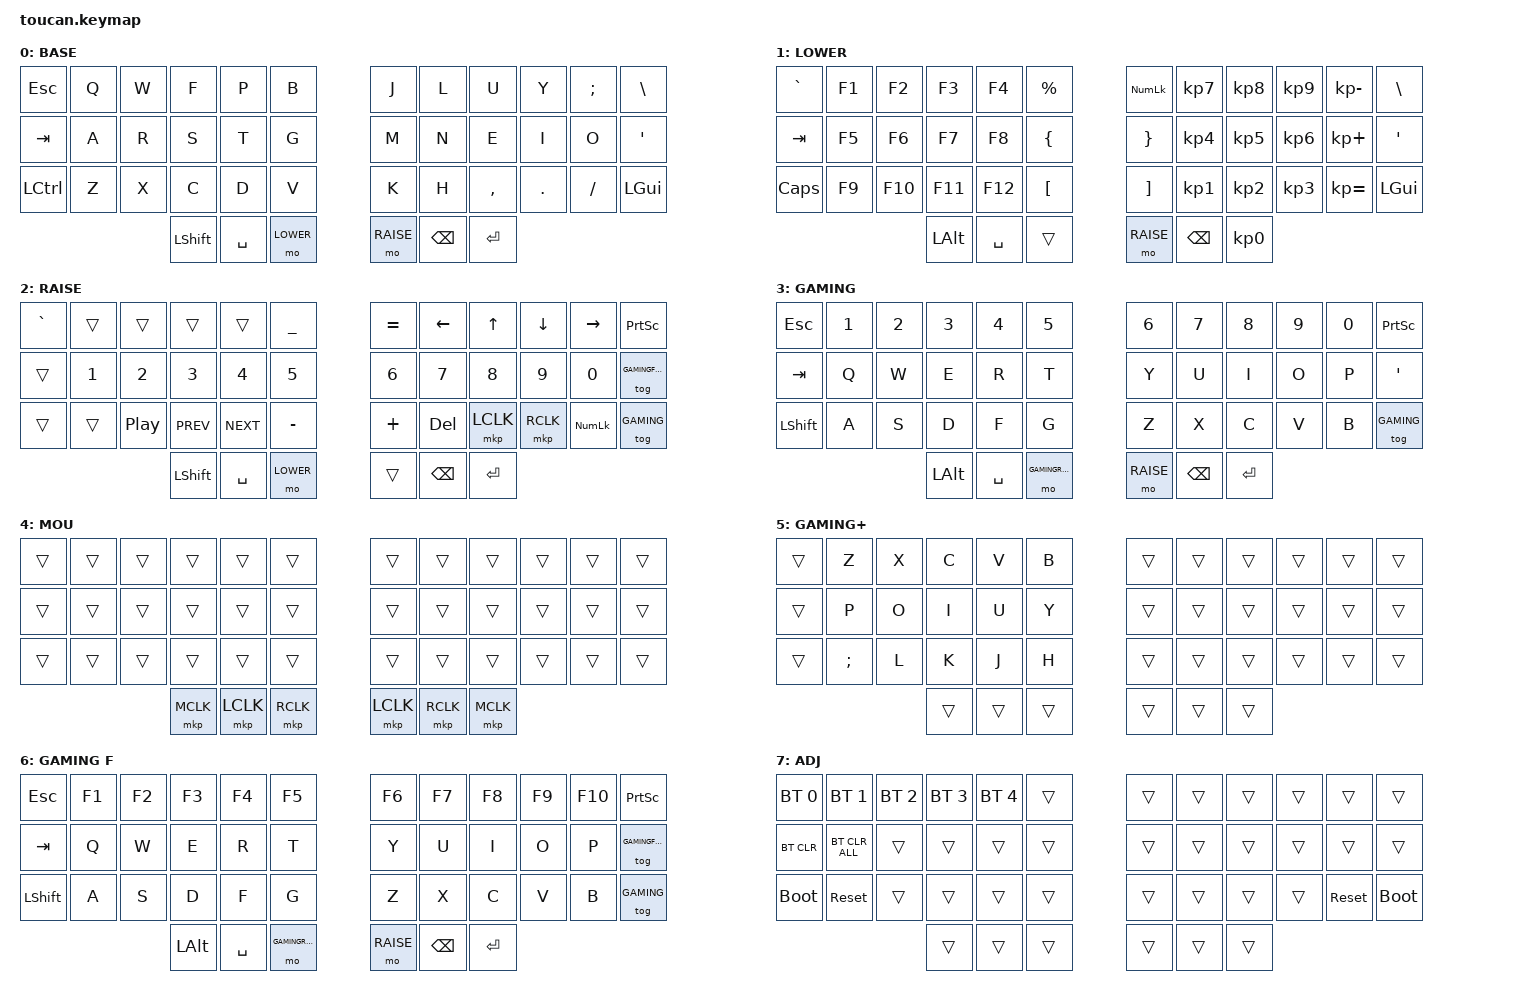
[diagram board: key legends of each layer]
#include <behaviors.dtsi>
#include <dt-bindings/zmk/keys.h>
#include <dt-bindings/zmk/bt.h>
#include <dt-bindings/zmk/outputs.h>
#include <dt-bindings/zmk/pointing.h>

#define BASE        0
#define LOWER       1
#define RAISE       2
#define GAMING      3
#define MOU         4
#define GAMINGRAISE 5
#define GAMINGFKEYS 6
#define ADJ         7

/ {
    conditional_layers {
        compatible = "zmk,conditional-layers";
        tri_layer {
            if-layers = <LOWER RAISE>;
            then-layer = <ADJ>;
        };
    };

    keymap {
        compatible = "zmk,keymap";

        base {
            display-name = "BASE";
            bindings = <
                &kp ESC   &kp Q &kp W &kp F &kp P &kp B   &kp J &kp L     &kp U    &kp Y   &kp SEMI &kp BSLH
                &kp TAB   &kp A &kp R &kp S &kp T &kp G   &kp M &kp N     &kp E    &kp I   &kp O    &kp SQT
                &kp LCTRL &kp Z &kp X &kp C &kp D &kp V   &kp K &kp H     &kp COMMA &kp DOT &kp FSLH &kp LGUI
                                    &kp LSHFT &kp SPACE &mo LOWER   &mo RAISE &kp BSPC &kp RET
            >;
        };

        lower {
            display-name = "LOWER";
            bindings = <
                &kp GRAVE &kp F1 &kp F2  &kp F3  &kp F4  &kp PRCNT   &kp KP_NUMLOCK &kp KP_N7 &kp KP_N8 &kp KP_N9 &kp KP_MINUS &kp BSLH
                &kp TAB   &kp F5 &kp F6  &kp F7  &kp F8  &kp LBRC    &kp RBRC       &kp KP_N4 &kp KP_N5 &kp KP_N6 &kp KP_PLUS  &kp SQT
                &kp CAPS  &kp F9 &kp F10 &kp F11 &kp F12 &kp LBKT    &kp RBKT       &kp KP_N1 &kp KP_N2 &kp KP_N3 &kp KP_EQUAL &kp LGUI
                                        &kp LALT &kp SPACE &trans   &mo RAISE &kp BSPC &kp KP_N0
            >;
        };

        raise {
            display-name = "RAISE";
            bindings = <
                &kp GRAVE &trans &trans &trans     &trans    &kp UNDER   &kp EQUAL &kp LEFT    &kp UP      &kp DOWN    &kp RIGHT     &kp PSCRN
                &trans    &kp N1 &kp N2 &kp N3     &kp N4    &kp N5      &kp N6    &kp N7      &kp N8      &kp N9      &kp N0        &tog GAMINGFKEYS
                &trans    &trans &kp C_PP &kp C_PREV &kp C_NEXT &kp MINUS  &kp PLUS  &kp DEL     &mkp LCLK   &mkp RCLK   &kp KP_NUMLOCK &tog GAMING
                                        &kp LSHFT &kp SPACE &mo LOWER   &trans &kp BSPC &kp RET
            >;
        };

        gaming {
            display-name = "GAMING";
            bindings = <
                &kp ESC   &kp N1 &kp N2 &kp N3 &kp N4 &kp N5   &kp N6 &kp N7 &kp N8 &kp N9 &kp N0 &kp PSCRN
                &kp TAB   &kp Q  &kp W  &kp E  &kp R  &kp T    &kp Y  &kp U  &kp I  &kp O  &kp P  &kp SQT
                &kp LSHFT &kp A  &kp S  &kp D  &kp F  &kp G    &kp Z  &kp X  &kp C  &kp V  &kp B  &tog GAMING
                                        &kp LALT &kp SPACE &mo GAMINGRAISE   &mo RAISE &kp BSPC &kp RET
            >;
        };

        mouse {
            display-name = "MOU";
            bindings = <
                &trans &trans &trans &trans &trans &trans           &trans &trans &trans &trans &trans &trans
                &trans &trans &trans &trans &trans &trans           &trans &trans &trans &trans &trans &trans
                &trans &trans &trans &trans &trans &trans           &trans &trans &trans &trans &trans &trans
                            &mkp MCLK &mkp LCLK &mkp RCLK           &mkp LCLK &mkp RCLK &mkp MCLK
            >;
        };

        gamingraise {
            display-name = "GAMING+";
            bindings = <
                &trans &kp Z     &kp X &kp C &kp V &kp B   &trans &trans &trans &trans &trans &trans
                &trans &kp P     &kp O &kp I &kp U &kp Y   &trans &trans &trans &trans &trans &trans
                &trans &kp SEMI  &kp L &kp K &kp J &kp H   &trans &trans &trans &trans &trans &trans
                                &trans &trans &trans   &trans &trans &trans
            >;
        };

        gamingfkeys {
            display-name = "GAMING F";
            bindings = <
                &kp ESC   &kp F1 &kp F2 &kp F3 &kp F4 &kp F5   &kp F6 &kp F7 &kp F8 &kp F9 &kp F10 &kp PSCRN
                &kp TAB   &kp Q  &kp W  &kp E  &kp R  &kp T    &kp Y  &kp U  &kp I  &kp O  &kp P   &tog GAMINGFKEYS
                &kp LSHFT &kp A  &kp S  &kp D  &kp F  &kp G    &kp Z  &kp X  &kp C  &kp V  &kp B   &tog GAMING
                                        &kp LALT &kp SPACE &mo GAMINGRAISE   &mo RAISE &kp BSPC &kp RET
            >;
        };

        adj {
            display-name = "ADJ";
            bindings = <
                &bt BT_SEL 0 &bt BT_SEL 1 &bt BT_SEL 2 &bt BT_SEL 3 &bt BT_SEL 4 &trans   &trans &trans &trans &trans &trans    &trans
                &bt BT_CLR   &bt BT_CLR_ALL &trans     &trans       &trans       &trans   &trans &trans &trans &trans &trans    &trans
                &bootloader  &sys_reset     &trans     &trans       &trans       &trans   &trans &trans &trans &trans &sys_reset &bootloader
                                                 &trans &trans &trans   &trans &trans &trans
            >;
        };
    };
};
